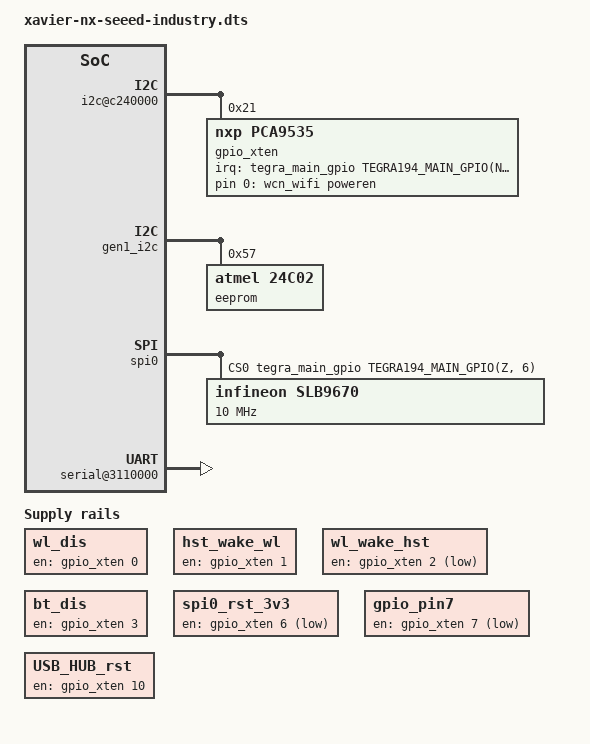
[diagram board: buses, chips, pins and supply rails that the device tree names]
/*
 * Copyright (C) 2022 Seeed Studio
 *
 * MIT License
 *
 */

/dts-v1/;
/plugin/;

#include <dt-bindings/interrupt-controller/irq.h>
#include <dt-bindings/pinctrl/pinctrl-tegra.h>
#include <dt-bindings/gpio/tegra194-gpio.h>
#include <dt-bindings/pinctrl/tegra194-p3668-all-p3509-0000.h>

/ {
    overlay-name = "Jetson Seeed Industrial Overlay";
	jetson-header-name = "Jetson 40pin Header";
	compatible = JETSON_COMPATIBLE;

    fragment@10 {
		target-path = "/i2c@c240000";

		__overlay__ {
            		#address-cells = <1>;
		    	#size-cells = <0>;
			gpio_xten: gpio_xten@21 {
				compatible = "nxp,pca9535";
				reg = <0x21>;
		                gpio-controller;
        		       	 #gpio-cells = <2>;
	
		                interrupt-controller;
                		#interrupt-cells=<2>;

                		interrupt-parent = <&tegra_main_gpio>;
                		interrupts = <TEGRA194_MAIN_GPIO(N, 1) IRQ_TYPE_EDGE_FALLING>;

				gpio-line-names =
					"wl_dis"	 	,"hst_wake_wl",
					"wl_wake_hst"	,"bt_dis",
					"hst_wake_bt"	,"bt_wake_hst",
					"spi0_rst_3v3"	,"gpio_pin7",
					"can_120R_en"	,"M2B_PCIe_rst",
					"USB_HUB_rst"	,"PCIe_ETH_rst",
					"M2B_WOWWAN"	,"M2B_DPR_3V3",
					"SIM_MUX_SEL"	,"gpio_pin15";

				gpio-line-offsets = <0>, <1>, <2>, <3>, <4>, <5>, <6>, <7>, <8>, <9>, <10>, <11>, <12>, <13>, <14>, <15>;
			};
		};
	};


	fragment@0 {
		target = <&gen1_i2c>;

		__overlay__ {
            		#address-cells = <1>;
		   	#size-cells = <0>;

			eeprom@57 {
                		compatible = "atmel,24c02";
                		reg = <0x57>;
                		pagesize = <0x08>;
            		};
		};
	};

	// There is no rfkill-wlan.c in Jetson kernel source.
	fragment@1 {
		target-path = "/";

		__overlay__ {
            wcn_wifi: wireless-wlan {
				compatible = "wlan-platdata";
				wifi_chip_type = "8723du";
				keep_wifi_power_on;
				WIFI,poweren_gpio = <&gpio_xten 0 GPIO_ACTIVE_HIGH>;
				WIFI,reset_n = <&gpio_xten 1 GPIO_ACTIVE_HIGH>;
				status = "okay";
			};
		};
	};

	fragment@2 {
		target-path = "/";

		__overlay__ {

				wl_dis: gpio_xten_pin@0 {
					compatible = "regulator-fixed";
					regulator-name = "wl_dis";
					gpios = <&gpio_xten 0 GPIO_ACTIVE_HIGH>;
					enable-active-high;
					regulator-always-on;
				};

				hst_wake_wl: gpio_xten_pin@1 {
					compatible = "regulator-fixed";
					regulator-name = "hst_wake_wl";
					gpios = <&gpio_xten 1 GPIO_ACTIVE_HIGH>;
					enable-active-high;
					regulator-always-on;
				};

				wl_wake_hst: gpio_xten_pin@2 {
					compatible = "regulator-fixed";
					regulator-name = "wl_wake_hst";
					gpios = <&gpio_xten 2 GPIO_ACTIVE_LOW>;
					gpio-open-drain;
				};

				bt_dis: gpio_xten_pin@3 {
					compatible = "regulator-fixed";
					regulator-name = "bt_dis";
					gpios = <&gpio_xten 3 GPIO_ACTIVE_HIGH>;
					enable-active-high;
					regulator-always-on;
				};
				spi0_rst_3v3: gpio_xten_pin@6 {
					compatible = "regulator-fixed";
					regulator-name = "spi0_rst_3v3";
					gpios = <&gpio_xten 6 GPIO_ACTIVE_HIGH>;
					enable-active-low;
					regulator-always-on;
				};

				gpio_pin7: gpio_xten_pin@7 {
					compatible = "regulator-fixed";
					regulator-name = "gpio_pin7";
					gpios = <&gpio_xten 7 GPIO_ACTIVE_HIGH>;
					enable-active-low;
					regulator-always-on;
				};


				USB_HUB_rst: gpio_xten_pin@10 {
					compatible = "regulator-fixed";
					regulator-name = "USB_HUB_rst";
					gpios = <&gpio_xten 10 GPIO_ACTIVE_HIGH>;
					enable-active-high;
					regulator-always-on;
				};

		};
	};

	fragment@3 {
		target-path = "/spi@3210000/spi@0";
		__overlay__ {
			status = "disabled";
		};
	};


	fragment@5 {
		target = <&spi0>;
		__overlay__ {
			#address-cells = <0x01>;
			#size-cells = <0x00>;

			status = "okay";
			cs-gpios = <&tegra_main_gpio TEGRA194_MAIN_GPIO(Z, 6) GPIO_ACTIVE_HIGH>;
			num-cs = <1>;

			slb9670@0 {
				compatible = "infineon,slb9670";
				status = "okay";
				reg = <0x0>;
				spi-max-frequency = <10000000>;
				controller-data {
					nvidia,cs-setup-clk-count = <0x1e>;
					nvidia,cs-hold-clk-count = <0x1e>;				
					nvidia,rx-clk-tap-delay = <0x7>;
					nvidia,tx-clk-tap-delay = <0x0>;
					nvidia,cs-inactive-cycles = <0x6>;	
				};
			};
		};
	};

	fragment@6 {
		target = <&pinmux>;
		__overlay__ {
			pinctrl-names = "default";
			pinctrl-0 = <&spi0_pinmux>;

			spi0_pinmux: exp-header-pinmux {
				hdr40-pin19 {
					nvidia,pins = HDR40_PIN19;
					nvidia,function = HDR40_SPI;
					nvidia,pull = <TEGRA_PIN_PULL_DOWN>;
					nvidia,tristate = <TEGRA_PIN_DISABLE>;
					nvidia,enable-input = <TEGRA_PIN_DISABLE>;
				};
				hdr40-pin21 {
					nvidia,pins = HDR40_PIN21;
					nvidia,function = HDR40_SPI;
					nvidia,pull = <TEGRA_PIN_PULL_DOWN>;
					nvidia,tristate = <TEGRA_PIN_DISABLE>;
					nvidia,enable-input = <TEGRA_PIN_ENABLE>;
				};
				hdr40-pin23 {
					nvidia,pins = HDR40_PIN23;
					nvidia,function = HDR40_SPI;
					nvidia,pull = <TEGRA_PIN_PULL_DOWN>;
					nvidia,tristate = <TEGRA_PIN_DISABLE>;
					nvidia,enable-input = <TEGRA_PIN_ENABLE>;
				};
				hdr40-pin24 {
					nvidia,pins = HDR40_PIN24;
					nvidia,function = HDR40_SPI;
					nvidia,pull = <TEGRA_PIN_PULL_UP>;
					nvidia,tristate = <TEGRA_PIN_DISABLE>;
					nvidia,enable-input = <TEGRA_PIN_DISABLE>;
				};

                                hdr40-pin29 {
                                        nvidia,pins = "can0_din_paa3";
                                        nvidia,function = "can0";
                                        nvidia,pin-label = "can0_din";
                                        nvidia,pull = <TEGRA_PIN_PULL_DOWN>;
                                        nvidia,tristate = <TEGRA_PIN_ENABLE>;
                                        nvidia,enable-input = <TEGRA_PIN_ENABLE>;
                                };
                                hdr40-pin31 {
                                        nvidia,pins = "can0_dout_paa2";
                                        nvidia,function = "can0";
                                        nvidia,pin-label = "can0_dout";
                                        nvidia,pull = <TEGRA_PIN_PULL_NONE>;
                                        nvidia,tristate = <TEGRA_PIN_DISABLE>;
                                        nvidia,enable-input = <TEGRA_PIN_DISABLE>;
                                };

                                hdr40-pin13 {
                                        nvidia,pins = "spi3_sck_py0";
                                        nvidia,function = "spi3";
                                        nvidia,pin-label = "spi3_sck";
                                        nvidia,pull = <TEGRA_PIN_PULL_DOWN>;
                                        nvidia,tristate = <TEGRA_PIN_DISABLE>;
                                        nvidia,enable-input = <TEGRA_PIN_ENABLE>;
                                        nvidia,io-high-voltage = <TEGRA_PIN_DISABLE>;
                                        nvidia,lpdr = <TEGRA_PIN_DISABLE>;
                                };

                                hdr40-pin16 {
                                        nvidia,pins = "spi3_cs1_py4";
                                        nvidia,function = "spi3";
                                        nvidia,pin-label = "spi3_cs1";
                                        nvidia,pull = <TEGRA_PIN_PULL_UP>;
                                        nvidia,tristate = <TEGRA_PIN_DISABLE>;
                                        nvidia,enable-input = <TEGRA_PIN_ENABLE>;
                                        nvidia,io-high-voltage = <TEGRA_PIN_DISABLE>;
                                        nvidia,lpdr = <TEGRA_PIN_DISABLE>;
                                };
                                hdr40-pin18 {
                                        nvidia,pins = "spi3_cs0_py3";
                                        nvidia,function = "spi3";
                                        nvidia,pin-label = "spi3_cs0";
                                        nvidia,pull = <TEGRA_PIN_PULL_UP>;
                                        nvidia,tristate = <TEGRA_PIN_DISABLE>;
                                        nvidia,enable-input = <TEGRA_PIN_ENABLE>;
                                        nvidia,io-high-voltage = <TEGRA_PIN_DISABLE>;
                                        nvidia,lpdr = <TEGRA_PIN_DISABLE>;
                                };

                                hdr40-pin37 {
                                        nvidia,pins = "spi3_mosi_py2";
                                        nvidia,function = "spi3";
                                        nvidia,pin-label = "spi3_dout";
                                        nvidia,pull = <TEGRA_PIN_PULL_DOWN>;
                                        nvidia,tristate = <TEGRA_PIN_DISABLE>;
                                        nvidia,enable-input = <TEGRA_PIN_ENABLE>;
                                        nvidia,io-high-voltage = <TEGRA_PIN_DISABLE>;
                                        nvidia,lpdr = <TEGRA_PIN_DISABLE>;
                                };

                                hdr40-pin22 {
                                        nvidia,pins = "spi3_miso_py1";
                                        nvidia,function = "spi3";
                                        nvidia,pin-label = "spi3_din";
                                        nvidia,pull = <TEGRA_PIN_PULL_DOWN>;
                                        nvidia,tristate = <TEGRA_PIN_DISABLE>;
                                        nvidia,enable-input = <TEGRA_PIN_ENABLE>;
                                        nvidia,io-high-voltage = <TEGRA_PIN_DISABLE>;
                                        nvidia,lpdr = <TEGRA_PIN_DISABLE>;
                                };

			};
		};
	};

	fragment@7 {
		target-path = "/serial@3110000";
		__overlay__ {
			status = "okay";
		};
	};
};


